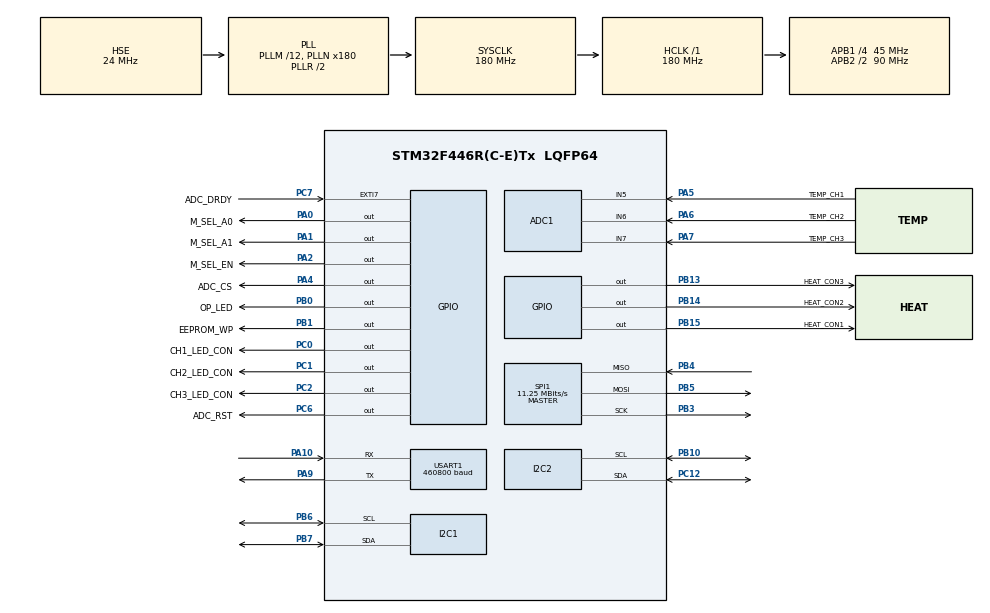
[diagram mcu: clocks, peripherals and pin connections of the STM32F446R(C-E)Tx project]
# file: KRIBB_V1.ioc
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ADC1.Channel-1\#ChannelRegularConversion=ADC_CHANNEL_5
ADC1.Channel-2\#ChannelInjectedConversion=ADC_CHANNEL_5
ADC1.Channel-3\#ChannelInjectedConversion=ADC_CHANNEL_5
ADC1.Channel-4\#ChannelInjectedConversion=ADC_CHANNEL_5
ADC1.Channel-5\#ChannelRegularConversion=ADC_CHANNEL_6
ADC1.Channel-6\#ChannelRegularConversion=ADC_CHANNEL_7
ADC1.ContinuousConvMode=ENABLE
ADC1.DMAContinuousRequests=ENABLE
ADC1.EOCSelection=ADC_EOC_SEQ_CONV
ADC1.InjNumberOfConversion=3
ADC1.InjectedOffset-2\#ChannelInjectedConversion=0
ADC1.InjectedOffset-3\#ChannelInjectedConversion=0
ADC1.InjectedOffset-4\#ChannelInjectedConversion=0
ADC1.InjectedRank-2\#ChannelInjectedConversion=1
ADC1.InjectedRank-3\#ChannelInjectedConversion=2
ADC1.InjectedRank-4\#ChannelInjectedConversion=3
ADC1.NbrOfConversion=3
ADC1.NbrOfConversionFlag=1
ADC1.Rank-1\#ChannelRegularConversion=1
ADC1.Rank-5\#ChannelRegularConversion=2
ADC1.Rank-6\#ChannelRegularConversion=3
ADC1.SamplingTime-1\#ChannelRegularConversion=ADC_SAMPLETIME_3CYCLES
ADC1.SamplingTime-2\#ChannelInjectedConversion=ADC_SAMPLETIME_3CYCLES
ADC1.SamplingTime-3\#ChannelInjectedConversion=ADC_SAMPLETIME_3CYCLES
ADC1.SamplingTime-4\#ChannelInjectedConversion=ADC_SAMPLETIME_3CYCLES
ADC1.SamplingTime-5\#ChannelRegularConversion=ADC_SAMPLETIME_3CYCLES
ADC1.SamplingTime-6\#ChannelRegularConversion=ADC_SAMPLETIME_3CYCLES
ADC1.ScanConvMode=ENABLE
ADC1.master=1
Dma.ADC1.0.Direction=DMA_PERIPH_TO_MEMORY
Dma.ADC1.0.FIFOMode=DMA_FIFOMODE_DISABLE
Dma.ADC1.0.Instance=DMA2_Stream0
Dma.ADC1.0.MemDataAlignment=DMA_MDATAALIGN_HALFWORD
Dma.ADC1.0.MemInc=DMA_MINC_ENABLE
Dma.ADC1.0.Mode=DMA_CIRCULAR
Dma.ADC1.0.PeriphDataAlignment=DMA_PDATAALIGN_HALFWORD
Dma.ADC1.0.PeriphInc=DMA_PINC_DISABLE
Dma.ADC1.0.Priority=DMA_PRIORITY_MEDIUM
Dma.Request0=ADC1
Mcu.Family=STM32F4
Mcu.Name=STM32F446R(C-E)Tx
Mcu.Package=LQFP64
NVIC.DMA2_Stream0_IRQn=true\:1\:0\:true\:false\:true\:false\:true\:true
NVIC.EXTI9_5_IRQn=true\:3\:0\:true\:false\:true\:true\:true\:true
NVIC.PriorityGroup=NVIC_PRIORITYGROUP_4
NVIC.TIM1_UP_TIM10_IRQn=true\:1\:0\:true\:false\:true\:true\:true\:true
NVIC.TIM7_IRQn=true\:1\:0\:true\:false\:true\:true\:true\:true
NVIC.USART1_IRQn=true\:0\:0\:false\:false\:true\:true\:true\:true
PA0-WKUP.GPIO_Label=M_SEL_A0
PA0-WKUP.Signal=GPIO_Output
PA1.GPIO_Label=M_SEL_A1
PA1.Signal=GPIO_Output
PA10.Mode=Asynchronous
PA10.Signal=USART1_RX
PA13.Mode=Serial_Wire
PA13.Signal=SYS_JTMS-SWDIO
PA14.Mode=Serial_Wire
PA14.Signal=SYS_JTCK-SWCLK
PA2.GPIO_Label=M_SEL_EN
PA2.Signal=GPIO_Output
PA4.GPIO_Label=ADC_CS\\
PA4.GPIO_Speed=GPIO_SPEED_FREQ_HIGH
PA4.PinState=GPIO_PIN_SET
PA4.Signal=GPIO_Output
PA5.GPIO_Label=TEMP_CH1
PA5.Signal=ADCx_IN5
PA6.GPIO_Label=TEMP_CH2
PA6.Signal=ADCx_IN6
PA7.GPIO_Label=TEMP_CH3
PA7.Signal=ADCx_IN7
PA9.Mode=Asynchronous
PA9.Signal=USART1_TX
PB0.GPIO_Label=OP_LED
PB0.Signal=GPIO_Output
PB1.GPIO_Label=EEPROM_WP
PB1.Signal=GPIO_Output
PB10.Mode=I2C
PB10.Signal=I2C2_SCL
PB13.GPIO_Label=HEAT_CON3
PB13.Signal=GPIO_Output
PB14.GPIO_Label=HEAT_CON2
PB14.Signal=GPIO_Output
PB15.GPIO_Label=HEAT_CON1
PB15.Signal=GPIO_Output
PB3.Mode=Full_Duplex_Master
PB3.Signal=SPI1_SCK
PB4.Mode=Full_Duplex_Master
PB4.Signal=SPI1_MISO
PB5.Mode=Full_Duplex_Master
PB5.Signal=SPI1_MOSI
PB6.GPIO_Pu=GPIO_PULLUP
PB6.Mode=I2C
PB6.Signal=I2C1_SCL
PB7.GPIO_Pu=GPIO_PULLUP
PB7.Mode=I2C
PB7.Signal=I2C1_SDA
PC0.GPIO_Label=CH1_LED_CON
PC0.Signal=GPIO_Output
PC1.GPIO_Label=CH2_LED_CON
PC1.Signal=GPIO_Output
PC12.Mode=I2C
PC12.Signal=I2C2_SDA
PC2.GPIO_Label=CH3_LED_CON
PC2.Signal=GPIO_Output
PC6.GPIO_Label=ADC_RST\\
PC6.Signal=GPIO_Output
PC7.GPIO_Label=ADC_DRDY\\
PC7.GPIO_ModeDefaultEXTI=GPIO_MODE_IT_FALLING
PC7.GPIO_PuPd=GPIO_PULLUP
PC7.Signal=GPXTI7
PH0-OSC_IN.Mode=HSE-External-Oscillator
PH0-OSC_IN.Signal=RCC_OSC_IN
PH1-OSC_OUT.Mode=HSE-External-Oscillator
PH1-OSC_OUT.Signal=RCC_OSC_OUT
ProjectManager.HeapSize=0x400
ProjectManager.StackSize=0x800
ProjectManager.TargetToolchain=STM32CubeIDE
RCC.AHBFreq_Value=180000000
RCC.APB1CLKDivider=RCC_HCLK_DIV4
RCC.APB1Freq_Value=45000000
RCC.APB1TimFreq_Value=90000000
RCC.APB2CLKDivider=RCC_HCLK_DIV2
RCC.APB2Freq_Value=90000000
RCC.APB2TimFreq_Value=180000000
RCC.CortexFreq_Value=180000000
RCC.HCLKFreq_Value=180000000
RCC.HSE_VALUE=24000000
RCC.PLLM=12
RCC.PLLN=180
RCC.PLLSourceVirtual=RCC_PLLSOURCE_HSE
RCC.SYSCLKFreq_VALUE=180000000
RCC.SYSCLKSource=RCC_SYSCLKSOURCE_PLLRCLK
RCC.USBFreq_Value=180000000
RCC.VCOOutputFreq_Value=360000000
SH.ADCx_IN5.0=ADC1_IN5,IN5
SH.ADCx_IN6.0=ADC1_IN6,IN6
SH.ADCx_IN7.0=ADC1_IN7,IN7
SPI1.BaudRatePrescaler=SPI_BAUDRATEPRESCALER_8
SPI1.CLKPhase=SPI_PHASE_2EDGE
SPI1.CalculateBaudRate=11.25 MBits/s
SPI1.DataSize=SPI_DATASIZE_8BIT
SPI1.Direction=SPI_DIRECTION_2LINES
SPI1.Mode=SPI_MODE_MASTER
SPI1.VirtualType=VM_MASTER
TIM10.AutoReloadPreload=TIM_AUTORELOAD_PRELOAD_ENABLE
TIM10.Period=99
TIM10.Prescaler=179
TIM7.AutoReloadPreload=TIM_AUTORELOAD_PRELOAD_ENABLE
TIM7.Period=1000-1
TIM7.Prescaler=90-1
USART1.BaudRate=460800
USART1.VirtualMode=VM_ASYNC
VP_TIM10_VS_ClockSourceINT.Mode=Enable_Timer
VP_TIM7_VS_ClockSourceINT.Mode=Enable_Timer
board=custom

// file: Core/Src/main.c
/* USER CODE BEGIN Header */
/**
 ******************************************************************************
 * @file           : main.c
 * @brief          : main program body
 * @date           : 2024.09.
 ******************************************************************************
 * @attention
 *
 * Copyright (c) 2024 UNIOTECH.
 * All rights reserved.
 *
 * This software is licensed under terms that can be found in the LICENSE file
 * in the root directory of this software component.
 * If no LICENSE file comes with this software, it is provided AS-IS.
 *
 ******************************************************************************
 */

/* USER CODE END Header */
#include "main.h"

/* USER CODE BEGIN Includes */
#if(CONFIG_FEATURE_TEMPERATURE_DMA_MODE != 1)
#include "hal_drv_temperature.h"
#endif

/* USER CODE END Includes */

ADC_HandleTypeDef hadc1;
DMA_HandleTypeDef hdma_adc1;

I2C_HandleTypeDef hi2c1;
I2C_HandleTypeDef hi2c2;

SPI_HandleTypeDef hspi1;

TIM_HandleTypeDef htim7;
TIM_HandleTypeDef htim10;

UART_HandleTypeDef huart1;

/* USER CODE BEGIN PV */
static uint16_t led_timer_1sec_cnt;
static AppTimer_t app_timers[APP_TIMER_ID_MAX];
static AppTask_t app_tasks[APP_TASK_ID_MAX];

#define	UART_DEBUG_MSG 	1
/* USER CODE END PV */

void SystemClock_Config(void);
static void MX_GPIO_Init(void);
static void MX_DMA_Init(void);
static void MX_I2C1_Init(void);
static void MX_I2C2_Init(void);
static void MX_SPI1_Init(void);
static void MX_USART1_UART_Init(void);
static void MX_ADC1_Init(void);
static void MX_TIM7_Init(void);
static void MX_TIM10_Init(void);
/* USER CODE BEGIN PFP */
int __io_putchar(int ch) {
    if (HAL_UART_Transmit(&huart1, (uint8_t*) &ch, 1, 10) != HAL_OK)
        return -1;
    return ch;
}
static void _timerCallback(void);
static void _taskCallback(void);
/* USER CODE END PFP */

/* USER CODE BEGIN 0 */
/**
 * @brief Timer interrupt callback function.
 *
 * This function is called when the timer reaches the end of its period.
 * It is designed to handle a 1 kHz timer (1 ms tick) and increment a counter for a 1-second LED timer.
 * Additionally, it checks the application timers (handled by TIM7) and decrements their remaining time.
 * When an application timer reaches 0, it triggers a user-defined callback function if it's set.
 *
 * - 1 ms tick increments the LED 1-second counter.
 * - Monitors the application timers in TIM7, decrements their remaining time,
 *   and calls the registered callback when the timer expires.
 *
 * @param htim  TIM handle associated with the timer interrupt.
 */
void HAL_TIM_PeriodElapsedCallback(TIM_HandleTypeDef *htim) {
    /* 1 kHz APP Timer (1 msec) */
    if (htim->Instance == TIM7) {
        /* 1 kHz LED/FSM timer (1 sec) */
        if (++led_timer_1sec_cnt >= 1000) {
            HAL_GPIO_TogglePin(OP_LED_GPIO_Port, OP_LED_Pin);
            led_timer_1sec_cnt = 0;
        }

        /* app timer */
        _timerCallback();
    }

    /* 10 kHz Timer (0.1 msec) */
    if (htim->Instance == TIM10) {
        /* app task */
        _taskCallback();
    }
}

volatile bool timer_mutex_flag = false;
volatile bool task_mutex_flag = false;

void _mutex_lock(volatile bool *mutex_flag) {
    while (__atomic_test_and_set(mutex_flag, __ATOMIC_ACQUIRE)) {
        /* Busy-wait */
    }
}

void _mutex_unlock(volatile bool *mutex_flag) {
    __atomic_clear(mutex_flag, __ATOMIC_RELEASE);
}

static void _timerCallback(void) {
    _mutex_lock(&timer_mutex_flag);
    for (uint8_t timer_idx = 0; timer_idx < APP_TIMER_ID_MAX; timer_idx++) {
        /* Check if the timer is active and if there is remaining time */
        if (app_timers[timer_idx].active && app_timers[timer_idx].remaining_1_ms > 0) {
            app_timers[timer_idx].remaining_1_ms--; /* Decrease the remaining time by 1 ms */
            if (app_timers[timer_idx].remaining_1_ms == 0) {
                if (NULL != app_timers[timer_idx].timer_cb) {
                    app_timers[timer_idx].timer_cb(); /* Call the timer callback function */
                    if (app_timers[timer_idx].repeat) {
                        app_timers[timer_idx].remaining_1_ms = app_timers[timer_idx].timeout_1_ms; /* Restart Timer */
                    }
                    else {
                        app_timers[timer_idx].active = 0; /* Stop Timer */
                    }
                }
            }
        }
    }
    _mutex_unlock(&timer_mutex_flag);
}

static void _taskCallback(void) {
    _mutex_lock(&task_mutex_flag);
    for (uint8_t task_idx = 0; task_idx < APP_TASK_ID_MAX; task_idx++) {
        /* Check if the task is active and if there is remaining time */
        if (app_tasks[task_idx].active && app_tasks[task_idx].remaining_0_1_ms > 0) {
            app_tasks[task_idx].remaining_0_1_ms--; /* Decrease the remaining time by 1 ms */
            if (app_tasks[task_idx].remaining_0_1_ms == 0) {
                if (NULL != app_tasks[task_idx].task_cb) {
                    app_tasks[task_idx].task_cb(); /* Call the task callback function */
                    app_tasks[task_idx].remaining_0_1_ms = app_tasks[task_idx].task_duty_0_1_ms; /* task keep going */
                }
            }
        }
    }
    _mutex_unlock(&task_mutex_flag);
}

#if(CONFIG_FEATURE_TEMPERATURE_DMA_MODE != 1)
void HAL_ADC_ConvCpltCallback(ADC_HandleTypeDef *hadc) {
    if (hadc->Instance == ADC1) {
        Hal_Temp_AdcCb();
    }
}
#endif

/* USER CODE END 0 */

int main(void) {

    /* MCU Configuration--------------------------------------------------------*/

    /* Reset of all peripherals, Initializes the Flash interface and the Systick. */
    HAL_Init();

    /* Configure the system clock */
    SystemClock_Config();

    /* Initialize all configured peripherals */
    MX_GPIO_Init();
    MX_DMA_Init();
    MX_I2C1_Init();
    MX_I2C2_Init();
    MX_SPI1_Init();
    MX_USART1_UART_Init();
    MX_ADC1_Init();
    MX_TIM7_Init();
    MX_TIM10_Init();
    /* USER CODE BEGIN 2 */
#if (UART_DEBUG_MSG == 1)
    setbuf(stdout, NULL);
#endif

    /* Timer Start */
    HAL_TIM_Base_Start_IT(&htim7);
    HAL_TIM_Base_Start_IT(&htim10);

    /* User Module Initialize */
    (void) UART_Init(&huart1);

#define TEST_UART_TX 0
#if (TEST_UART_TX == 1)
    char Tx_str_data[] = "UNIOTECH CORP.\r\n";
    HAL_UART_Transmit(&huart1, (uint8_t*) Tx_str_data, sizeof(Tx_str_data) - 1, 1000);
#endif
    /***********************************************************************
     * System Init
     ***********************************************************************/
    // @formatter:off
    SYS_LOG_INFO("----------------------------------");
    SYS_LOG_INFO("  [UNIOTECH] 3CH FL ANALYZER UOT  ");
    SYS_LOG_INFO("* Build Time: %s %s", __DATE__, __TIME__);
    SYS_LOG_INFO("* FW Ver    : Ver. %d.%d.%02d", SYS_FW_MAJOR_VER, SYS_FW_MINOR_VER, SYS_FW_PATCH_VER);
    SYS_LOG_INFO("* HW Ver    : Ver. %d.%d", SYS_HW_MAJOR_VER, SYS_HW_MINOR_VER);
    SYS_LOG_INFO("----------------------------------");

    SYS_LOG_INFO("----------------------------------");
    SYS_LOG_INFO("            Devie Start           ");
    SYS_LOG_INFO("----------------------------------");
                                                                                                                            // @formatter:on
    /* Init Fsm Task */
    Task_Fsm_Init();

    /* Init Meas Task & Read settings from FRAM */
    HAL_Delay(50);
    Task_Meas_Init();
    Task_TempCtrl_Init();

#if (SYS_TEST_MODE_ENABLE != 1)
    /***********************************************************************
     * Test Sequence
     ***********************************************************************/
    HAL_Delay(1000);
    Task_TempCtrl_Start();

    HAL_Delay(1000);
    Task_Meas_Start();
#else
    /***********************************************************************
     * Test Sequence
     ***********************************************************************/
    /* Add Test Sequence for user tests */
//    Task_Fsm_StartTest(FSM_TEST_DEVICE_HEATER_ONOFF, FSM_TEST_MODE_SINGLE);
//    Task_Fsm_StartTest(FSM_TEST_DEVICE_READ_TEMP, FSM_TEST_MODE_SINGLE);
//    Task_Fsm_StartTest(FSM_TEST_MMI_SET_TEMP_ONOFF, FSM_TEST_MODE_SINGLE);
//    Task_Fsm_StartTest(FSM_TEST_MMI_SET_LED_ON_TIME, FSM_TEST_MODE_SINGLE);
//    Task_Fsm_StartTest(FSM_TEST_MMI_SET_LED_ON_LEVEL, FSM_TEST_MODE_SINGLE);
//    Task_Fsm_StartTest(FSM_TEST_MMI_SET_ADC_SAMPLE_CNT, FSM_TEST_MODE_SINGLE);
//    Task_Fsm_StartTest(FSM_TEST_MMI_SET_ADC_DELAY_MS, FSM_TEST_MODE_SINGLE);
//    Task_Fsm_StartTest(FSM_TEST_MMI_SET_STABLE_TEMPERATURE, FSM_TEST_MODE_SINGLE);
//    Task_Fsm_StartTest(FSM_TEST_MMI_SET_REQ_ALL_SETTINGS, FSM_TEST_MODE_SINGLE);
//    Task_Fsm_StartTest(FSM_TEST_MMI_REQ_TEMPERATURE, FSM_TEST_MODE_SINGLE);
//    Task_Fsm_StartTest(FSM_TEST_MMI_REQ_RECV_PD, FSM_TEST_MODE_SINGLE);
//    Task_Fsm_StartTest(FSM_TEST_MMI_REQ_MONITOR_PD, FSM_TEST_MODE_SINGLE);
//    Task_Fsm_StartTest(FSM_TEST_MMI_REQ_MEASURE, FSM_TEST_MODE_SINGLE);
//    Task_Fsm_StartTest(FSM_TEST_MMI_DEV_CTRL_LED_ONOFF, FSM_TEST_MODE_SEQUENCE);
//    Task_Fsm_StartTest(FSM_TEST_MMI_DEV_STATUS_REQ, FSM_TEST_MODE_SINGLE);
//    Task_Fsm_StartTest(FSM_TEST_MMI_REQ_MEASURE, FSM_TEST_MODE_SINGLE);
#endif
    /* USER CODE END 2 */

    /* Infinite loop */
    while (1) {

    }
}

void SystemClock_Config(void) {
    RCC_OscInitTypeDef RCC_OscInitStruct = {
        0 };
    RCC_ClkInitTypeDef RCC_ClkInitStruct = {
        0 };

    /** Configure the main internal regulator output voltage
     */
    __HAL_RCC_PWR_CLK_ENABLE();
    __HAL_PWR_VOLTAGESCALING_CONFIG(PWR_REGULATOR_VOLTAGE_SCALE1);

    /** Initializes the RCC Oscillators according to the specified parameters
     * in the RCC_OscInitTypeDef structure.
     */
    RCC_OscInitStruct.OscillatorType = RCC_OSCILLATORTYPE_HSE;
    RCC_OscInitStruct.HSEState = RCC_HSE_ON;
    RCC_OscInitStruct.PLL.PLLState = RCC_PLL_ON;
    RCC_OscInitStruct.PLL.PLLSource = RCC_PLLSOURCE_HSE;
    RCC_OscInitStruct.PLL.PLLM = 12;
    RCC_OscInitStruct.PLL.PLLN = 180;
    RCC_OscInitStruct.PLL.PLLP = RCC_PLLP_DIV2;
    RCC_OscInitStruct.PLL.PLLQ = 2;
    RCC_OscInitStruct.PLL.PLLR = 2;
    if (HAL_RCC_OscConfig(&RCC_OscInitStruct) != HAL_OK) {
        Error_Handler();
    }

    /** Activate the Over-Drive mode
     */
    if (HAL_PWREx_EnableOverDrive() != HAL_OK) {
        Error_Handler();
    }

    /** Initializes the CPU, AHB and APB buses clocks
     */
    RCC_ClkInitStruct.ClockType = RCC_CLOCKTYPE_HCLK | RCC_CLOCKTYPE_SYSCLK | RCC_CLOCKTYPE_PCLK1 | RCC_CLOCKTYPE_PCLK2;
    RCC_ClkInitStruct.SYSCLKSource = RCC_SYSCLKSOURCE_PLLRCLK;
    RCC_ClkInitStruct.AHBCLKDivider = RCC_SYSCLK_DIV1;
    RCC_ClkInitStruct.APB1CLKDivider = RCC_HCLK_DIV4;
    RCC_ClkInitStruct.APB2CLKDivider = RCC_HCLK_DIV2;

    if (HAL_RCC_ClockConfig(&RCC_ClkInitStruct, FLASH_LATENCY_5) != HAL_OK) {
        Error_Handler();
    }
}

static void MX_ADC1_Init(void) {

    ADC_ChannelConfTypeDef sConfig = {
        0 };
    ADC_InjectionConfTypeDef sConfigInjected = {
        0 };

    /** Configure the global features of the ADC (Clock, Resolution, Data Alignment and number of conversion)
     */
    hadc1.Instance = ADC1;
    hadc1.Init.ClockPrescaler = ADC_CLOCK_SYNC_PCLK_DIV4;
    hadc1.Init.Resolution = ADC_RESOLUTION_12B;
    hadc1.Init.ScanConvMode = ENABLE;
    hadc1.Init.ContinuousConvMode = ENABLE;
    hadc1.Init.DiscontinuousConvMode = DISABLE;
    hadc1.Init.ExternalTrigConvEdge = ADC_EXTERNALTRIGCONVEDGE_NONE;
    hadc1.Init.ExternalTrigConv = ADC_SOFTWARE_START;
    hadc1.Init.DataAlign = ADC_DATAALIGN_RIGHT;
    hadc1.Init.NbrOfConversion = 3;
    hadc1.Init.DMAContinuousRequests = ENABLE;
    hadc1.Init.EOCSelection = ADC_EOC_SEQ_CONV;
    if (HAL_ADC_Init(&hadc1) != HAL_OK) {
        Error_Handler();
    }

    /** Configure for the selected ADC regular channel its corresponding rank in the sequencer and its sample time.
     */
    sConfig.Channel = ADC_CHANNEL_5;
    sConfig.Rank = 1;
    sConfig.SamplingTime = ADC_SAMPLETIME_3CYCLES;
    if (HAL_ADC_ConfigChannel(&hadc1, &sConfig) != HAL_OK) {
        Error_Handler();
    }

    /** Configure for the selected ADC regular channel its corresponding rank in the sequencer and its sample time.
     */
    sConfig.Channel = ADC_CHANNEL_6;
    sConfig.Rank = 2;
    if (HAL_ADC_ConfigChannel(&hadc1, &sConfig) != HAL_OK) {
        Error_Handler();
    }

    /** Configure for the selected ADC regular channel its corresponding rank in the sequencer and its sample time.
     */
    sConfig.Channel = ADC_CHANNEL_7;
    sConfig.Rank = 3;
    if (HAL_ADC_ConfigChannel(&hadc1, &sConfig) != HAL_OK) {
        Error_Handler();
    }

    /** Configures for the selected ADC injected channel its corresponding rank in the sequencer and its sample time
     */
    sConfigInjected.InjectedChannel = ADC_CHANNEL_5;
    sConfigInjected.InjectedRank = 1;
    sConfigInjected.InjectedNbrOfConversion = 3;
    sConfigInjected.InjectedSamplingTime = ADC_SAMPLETIME_3CYCLES;
    sConfigInjected.ExternalTrigInjecConvEdge = ADC_EXTERNALTRIGINJECCONVEDGE_NONE;
    sConfigInjected.ExternalTrigInjecConv = ADC_INJECTED_SOFTWARE_START;
    sConfigInjected.AutoInjectedConv = DISABLE;
    sConfigInjected.InjectedDiscontinuousConvMode = DISABLE;
    sConfigInjected.InjectedOffset = 0;
    if (HAL_ADCEx_InjectedConfigChannel(&hadc1, &sConfigInjected) != HAL_OK) {
        Error_Handler();
    }

    /** Configures for the selected ADC injected channel its corresponding rank in the sequencer and its sample time
     */
    sConfigInjected.InjectedRank = 2;
    if (HAL_ADCEx_InjectedConfigChannel(&hadc1, &sConfigInjected) != HAL_OK) {
        Error_Handler();
    }

    /** Configures for the selected ADC injected channel its corresponding rank in the sequencer and its sample time
     */
    sConfigInjected.InjectedRank = 3;
    if (HAL_ADCEx_InjectedConfigChannel(&hadc1, &sConfigInjected) != HAL_OK) {
        Error_Handler();
    }

}

static void MX_I2C1_Init(void) {

    hi2c1.Instance = I2C1;
    hi2c1.Init.ClockSpeed = 100000;
    hi2c1.Init.DutyCycle = I2C_DUTYCYCLE_2;
    hi2c1.Init.OwnAddress1 = 0;
    hi2c1.Init.AddressingMode = I2C_ADDRESSINGMODE_7BIT;
    hi2c1.Init.DualAddressMode = I2C_DUALADDRESS_DISABLE;
    hi2c1.Init.OwnAddress2 = 0;
    hi2c1.Init.GeneralCallMode = I2C_GENERALCALL_DISABLE;
    hi2c1.Init.NoStretchMode = I2C_NOSTRETCH_DISABLE;
    if (HAL_I2C_Init(&hi2c1) != HAL_OK) {
        Error_Handler();
    }

}

static void MX_I2C2_Init(void) {

    hi2c2.Instance = I2C2;
    hi2c2.Init.ClockSpeed = 100000;
    hi2c2.Init.DutyCycle = I2C_DUTYCYCLE_2;
    hi2c2.Init.OwnAddress1 = 0;
    hi2c2.Init.AddressingMode = I2C_ADDRESSINGMODE_7BIT;
    hi2c2.Init.DualAddressMode = I2C_DUALADDRESS_DISABLE;
    hi2c2.Init.OwnAddress2 = 0;
    hi2c2.Init.GeneralCallMode = I2C_GENERALCALL_DISABLE;
    hi2c2.Init.NoStretchMode = I2C_NOSTRETCH_DISABLE;
    if (HAL_I2C_Init(&hi2c2) != HAL_OK) {
        Error_Handler();
    }

}

static void MX_SPI1_Init(void) {

    /* SPI1 parameter configuration*/
    hspi1.Instance = SPI1;
    hspi1.Init.Mode = SPI_MODE_MASTER;
    hspi1.Init.Direction = SPI_DIRECTION_2LINES;
    hspi1.Init.DataSize = SPI_DATASIZE_8BIT;
    hspi1.Init.CLKPolarity = SPI_POLARITY_LOW;
    hspi1.Init.CLKPhase = SPI_PHASE_2EDGE;
    hspi1.Init.NSS = SPI_NSS_SOFT;
    hspi1.Init.BaudRatePrescaler = SPI_BAUDRATEPRESCALER_8;
    hspi1.Init.FirstBit = SPI_FIRSTBIT_MSB;
    hspi1.Init.TIMode = SPI_TIMODE_DISABLE;
    hspi1.Init.CRCCalculation = SPI_CRCCALCULATION_DISABLE;
    hspi1.Init.CRCPolynomial = 10;
    if (HAL_SPI_Init(&hspi1) != HAL_OK) {
        Error_Handler();
    }

}

static void MX_TIM7_Init(void) {

    TIM_MasterConfigTypeDef sMasterConfig = {
        0 };

    htim7.Instance = TIM7;
    htim7.Init.Prescaler = 90 - 1;
    htim7.Init.CounterMode = TIM_COUNTERMODE_UP;
    htim7.Init.Period = 1000 - 1;
    htim7.Init.AutoReloadPreload = TIM_AUTORELOAD_PRELOAD_ENABLE;
    if (HAL_TIM_Base_Init(&htim7) != HAL_OK) {
        Error_Handler();
    }
    sMasterConfig.MasterOutputTrigger = TIM_TRGO_RESET;
    sMasterConfig.MasterSlaveMode = TIM_MASTERSLAVEMODE_DISABLE;
    if (HAL_TIMEx_MasterConfigSynchronization(&htim7, &sMasterConfig) != HAL_OK) {
        Error_Handler();
    }

}

static void MX_TIM10_Init(void) {

    htim10.Instance = TIM10;
    htim10.Init.Prescaler = 179;
    htim10.Init.CounterMode = TIM_COUNTERMODE_UP;
    htim10.Init.Period = 99;
    htim10.Init.ClockDivision = TIM_CLOCKDIVISION_DIV1;
    htim10.Init.AutoReloadPreload = TIM_AUTORELOAD_PRELOAD_ENABLE;
    if (HAL_TIM_Base_Init(&htim10) != HAL_OK) {
        Error_Handler();
    }

}

static void MX_USART1_UART_Init(void) {

    huart1.Instance = USART1;
    huart1.Init.BaudRate = 460800;
    huart1.Init.WordLength = UART_WORDLENGTH_8B;
    huart1.Init.StopBits = UART_STOPBITS_1;
    huart1.Init.Parity = UART_PARITY_NONE;
    huart1.Init.Mode = UART_MODE_TX_RX;
    huart1.Init.HwFlowCtl = UART_HWCONTROL_NONE;
    huart1.Init.OverSampling = UART_OVERSAMPLING_16;
    if (HAL_UART_Init(&huart1) != HAL_OK) {
        Error_Handler();
    }

}

static void MX_DMA_Init(void) {

    /* DMA controller clock enable */
    __HAL_RCC_DMA2_CLK_ENABLE();

    /* DMA interrupt init */
    /* DMA2_Stream0_IRQn interrupt configuration */
    HAL_NVIC_SetPriority(DMA2_Stream0_IRQn, 1, 0);
    HAL_NVIC_EnableIRQ(DMA2_Stream0_IRQn);

}

static void MX_GPIO_Init(void) {
    GPIO_InitTypeDef GPIO_InitStruct = {
        0 };

    /* GPIO Ports Clock Enable */
    __HAL_RCC_GPIOH_CLK_ENABLE();
    __HAL_RCC_GPIOC_CLK_ENABLE();
    __HAL_RCC_GPIOA_CLK_ENABLE();
    __HAL_RCC_GPIOB_CLK_ENABLE();

    /*Configure GPIO pin Output Level */
    HAL_GPIO_WritePin(GPIOC, CH1_LED_CON_Pin | CH2_LED_CON_Pin | CH3_LED_CON_Pin | ADC_RST__Pin, GPIO_PIN_RESET);

    /*Configure GPIO pin Output Level */
    HAL_GPIO_WritePin(GPIOA, M_SEL_A0_Pin | M_SEL_A1_Pin | M_SEL_EN_Pin, GPIO_PIN_RESET);

    /*Configure GPIO pin Output Level */
    HAL_GPIO_WritePin(ADC_CS__GPIO_Port, ADC_CS__Pin, GPIO_PIN_SET);

    /*Configure GPIO pin Output Level */
    HAL_GPIO_WritePin(GPIOB, OP_LED_Pin | EEPROM_WP_Pin | HEAT_CON3_Pin | HEAT_CON2_Pin | HEAT_CON1_Pin, GPIO_PIN_RESET);

    /*Configure GPIO pins : CH1_LED_CON_Pin CH2_LED_CON_Pin CH3_LED_CON_Pin ADC_RST__Pin */
    GPIO_InitStruct.Pin = CH1_LED_CON_Pin | CH2_LED_CON_Pin | CH3_LED_CON_Pin | ADC_RST__Pin;
    GPIO_InitStruct.Mode = GPIO_MODE_OUTPUT_PP;
    GPIO_InitStruct.Pull = GPIO_NOPULL;
    GPIO_InitStruct.Speed = GPIO_SPEED_FREQ_LOW;
    HAL_GPIO_Init(GPIOC, &GPIO_InitStruct);

    /*Configure GPIO pins : M_SEL_A0_Pin M_SEL_A1_Pin M_SEL_EN_Pin */
    GPIO_InitStruct.Pin = M_SEL_A0_Pin | M_SEL_A1_Pin | M_SEL_EN_Pin;
    GPIO_InitStruct.Mode = GPIO_MODE_OUTPUT_PP;
    GPIO_InitStruct.Pull = GPIO_NOPULL;
    GPIO_InitStruct.Speed = GPIO_SPEED_FREQ_LOW;
    HAL_GPIO_Init(GPIOA, &GPIO_InitStruct);

    /*Configure GPIO pin : ADC_CS__Pin */
    GPIO_InitStruct.Pin = ADC_CS__Pin;
    GPIO_InitStruct.Mode = GPIO_MODE_OUTPUT_PP;
    GPIO_InitStruct.Pull = GPIO_NOPULL;
    GPIO_InitStruct.Speed = GPIO_SPEED_FREQ_HIGH;
    HAL_GPIO_Init(ADC_CS__GPIO_Port, &GPIO_InitStruct);

    /*Configure GPIO pins : OP_LED_Pin EEPROM_WP_Pin HEAT_CON3_Pin HEAT_CON2_Pin
     HEAT_CON1_Pin */
    GPIO_InitStruct.Pin = OP_LED_Pin | EEPROM_WP_Pin | HEAT_CON3_Pin | HEAT_CON2_Pin | HEAT_CON1_Pin;
    GPIO_InitStruct.Mode = GPIO_MODE_OUTPUT_PP;
    GPIO_InitStruct.Pull = GPIO_NOPULL;
    GPIO_InitStruct.Speed = GPIO_SPEED_FREQ_LOW;
    HAL_GPIO_Init(GPIOB, &GPIO_InitStruct);

    /*Configure GPIO pin : ADC_DRDY__Pin */
    GPIO_InitStruct.Pin = ADC_DRDY__Pin;
    GPIO_InitStruct.Mode = GPIO_MODE_IT_FALLING;
    GPIO_InitStruct.Pull = GPIO_PULLUP;
    HAL_GPIO_Init(ADC_DRDY__GPIO_Port, &GPIO_InitStruct);

    /* EXTI interrupt init*/
    HAL_NVIC_SetPriority(EXTI9_5_IRQn, 1, 0);
    HAL_NVIC_EnableIRQ(EXTI9_5_IRQn);

}

/* USER CODE BEGIN 4 */
void App_Timer_Start(AppTimerId_t timer_id, uint32_t timeout_ms, bool repeat, void (*timer_cb)(void)) {
    if (timer_id < APP_TIMER_ID_MAX) {
        app_timers[timer_id].timeout_1_ms = timeout_ms;
        app_timers[timer_id].remaining_1_ms = timeout_ms;
        app_timers[timer_id].timer_cb = timer_cb;
        app_timers[timer_id].active = 1;
        app_timers[timer_id].repeat = repeat;
    }
}

void App_Timer_Stop(AppTimerId_t timer_id) {
    if (timer_id < APP_TIMER_ID_MAX) {
        app_timers[timer_id].active = 0;
        app_timers[timer_id].repeat = false;
    }
}

void App_Task_Start(AppTaskId_t task_id, uint32_t task_duty_ms, void (*task_cb)(void)) {
    if (task_id < APP_TASK_ID_MAX) {
        app_tasks[task_id].task_duty_0_1_ms = task_duty_ms * 10;
        app_tasks[task_id].remaining_0_1_ms = task_duty_ms * 10;
        app_tasks[task_id].task_cb = task_cb;
        app_tasks[task_id].active = 1;
    }
}

void App_Task_Stop(AppTaskId_t task_id) {
    if (task_id < APP_TASK_ID_MAX) {
        app_tasks[task_id].active = 0;
    }
}
/* USER CODE END 4 */

void Error_Handler(void) {
    __disable_irq();
    while (1) {
    }
}
